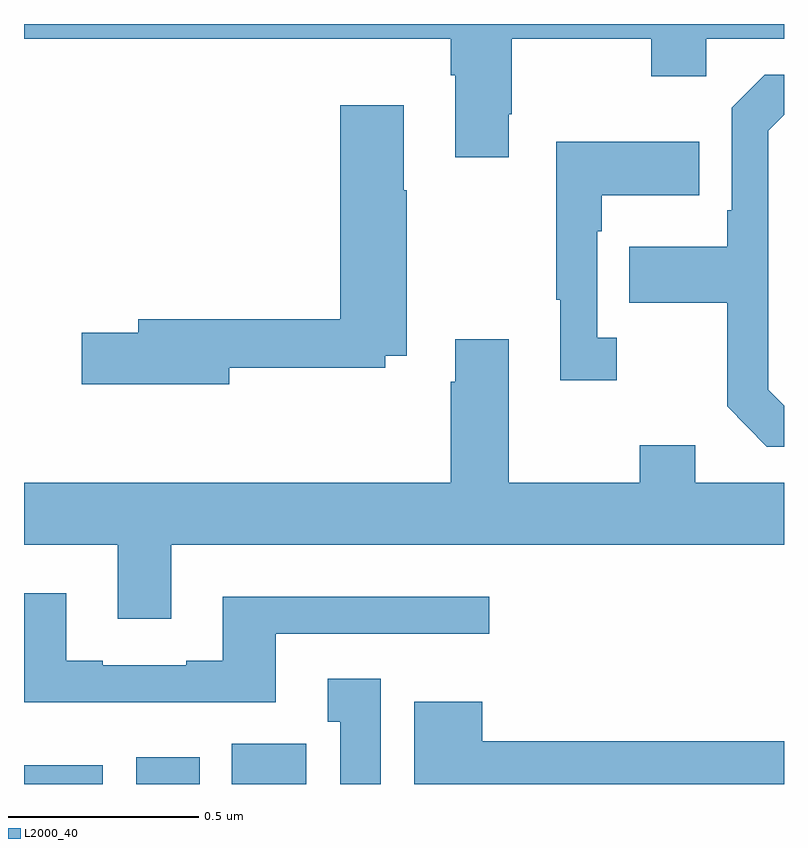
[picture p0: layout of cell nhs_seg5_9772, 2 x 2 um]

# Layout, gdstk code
import gdstk
lib = gdstk.Library(unit=1e-6, precision=1e-09)
def R(c, l, rs):  # rectangles x0, y0, x1, y1
    for r in rs: c.add(gdstk.rectangle(r[:2], r[2:], *l))
def P(c, l, *ps):  # polygons
    for p in ps: c.add(gdstk.Polygon(p, *l))
L2000_40 = (2000, 40)

nhs_seg5_9772 = lib.new_cell('nhs_seg5_9772')
R(nhs_seg5_9772, L2000_40, [(238,854.799,238.207,854.848), (238.295,854.799,238.462,854.869), (238.547,854.799,238.743,854.905)])
P(nhs_seg5_9772, L2000_40, [(239.275,856.561),(239.283,856.561),(239.283,856.76),(239.65,856.76),(239.65,856.661),(239.796,856.661),(239.796,856.76),(240,856.76),(240,856.799),(238,856.799),(238,856.76),(239.123,856.76),(239.123,856.664),(239.135,856.664),(239.135,856.449),(239.275,856.449)],
  [(240,855.795),(239.958,855.837),(239.958,856.518),(240,856.56),(240,856.665),(239.949,856.665),(239.862,856.578),(239.862,856.309),(239.85,856.309),(239.85,856.213),(239.593,856.213),(239.593,856.066),(239.85,856.066),(239.85,855.793),(239.955,855.687),(240,855.687)],
  [(238.54,855.894),(238.95,855.894),(238.95,855.926),(239.007,855.926),(239.007,856.361),(238.999,856.361),(238.999,856.585),(238.832,856.585),(238.832,856.022),(238.301,856.022),(238.301,855.986),(238.152,855.986),(238.152,855.851),(238.54,855.851)],
  [(239.56,855.974),(239.508,855.974),(239.508,856.253),(239.521,856.253),(239.521,856.349),(239.777,856.349),(239.777,856.489),(239.4,856.489),(239.4,856.073),(239.411,856.073),(239.411,855.861),(239.56,855.861)],
  [(238.387,855.428),(240,855.428),(240,855.592),(239.767,855.592),(239.767,855.691),(239.62,855.691),(239.62,855.592),(239.275,855.592),(239.275,855.97),(239.135,855.97),(239.135,855.857),(239.123,855.857),(239.123,855.592),(238,855.592),(238,855.428),(238.247,855.428),(238.247,855.234),(238.387,855.234)],
  [(238.663,855.195),(239.224,855.195),(239.224,855.292),(238.523,855.292),(238.523,855.124),(238.427,855.124),(238.427,855.111),(238.207,855.111),(238.207,855.124),(238.111,855.124),(238.111,855.301),(238,855.301),(238,855.014),(238.663,855.014)],
  [(238.939,855.076),(238.799,855.076),(238.799,854.963),(238.832,854.963),(238.832,854.799),(238.939,854.799)],
  [(240,854.912),(239.206,854.912),(239.206,855.016),(239.027,855.016),(239.027,854.799),(240,854.799)])

lib.write_gds('nhs_seg5_9772.gds')
